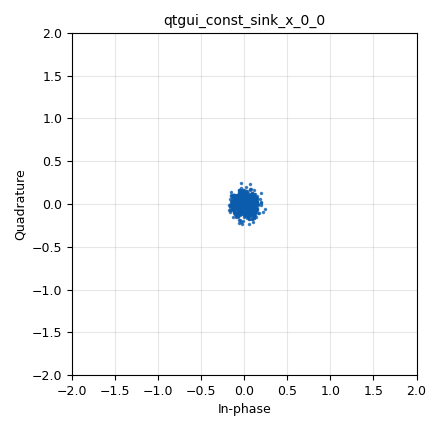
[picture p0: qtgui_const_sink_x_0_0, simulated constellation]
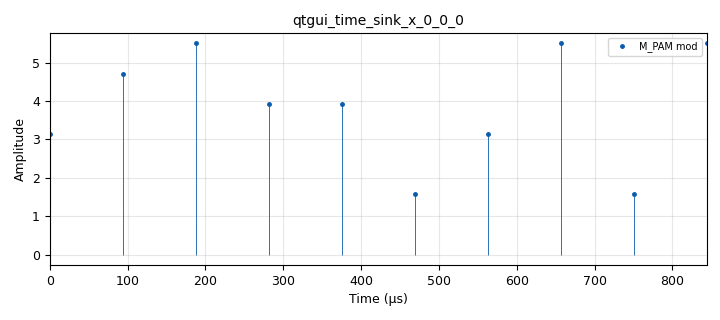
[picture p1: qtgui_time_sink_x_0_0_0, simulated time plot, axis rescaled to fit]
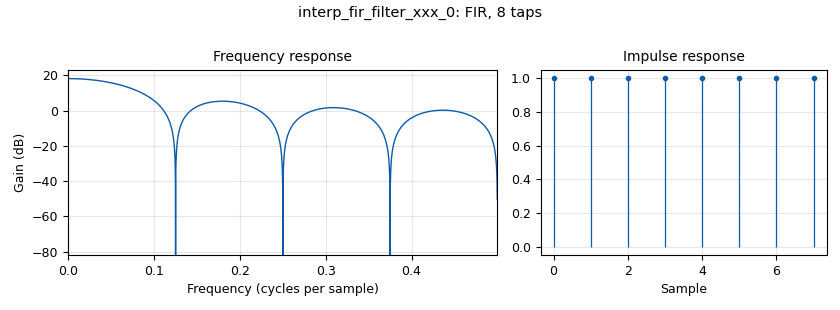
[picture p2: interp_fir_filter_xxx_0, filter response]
options:
  parameters:
    generate_options: qt_gui
    id: M_PSK
    output_language: python
    title: Not titled yet
  states: {}

blocks:
- name: Constelacion
  id: variable
  parameters:
    value: (1+0j, 0+1j, -1+0j, 0-1j)
  states: {}
- name: H
  id: variable
  parameters:
    value: (1,1,1,1,1,1,1,1)
  states: {}
- name: M
  id: variable
  parameters:
    value: '8'
  states: {}
- name: Npbs
  id: variable
  parameters:
    value: int(math.log(M,2))
  states: {}
- name: Rb
  id: variable
  parameters:
    value: '32000'
  states: {}
- name: Rs
  id: variable
  parameters:
    value: Rb/Npbs
  states: {}
- name: Sps
  id: variable
  parameters:
    value: len(H)
  states: {}
- name: samp_rate
  id: variable
  parameters:
    value: Rs*Sps
  states: {}
- name: analog_const_source_x_0
  id: analog_const_source_x
  parameters:
    const: '0'
    type: float
  states: {}
- name: analog_noise_source_x_0
  id: analog_noise_source_x
  parameters:
    amp: '0.1'
    noise_type: analog.GR_GAUSSIAN
    seed: '0'
    type: complex
  states: {}
- name: analog_random_source_x_0
  id: analog_random_source_x
  parameters:
    max: '2'
    min: '0'
    num_samps: '1000'
    repeat: 'True'
    type: byte
  states: {}
- name: blocks_add_xx_0
  id: blocks_add_xx
  parameters:
    type: complex
  states: {}
- name: blocks_char_to_float_0
  id: blocks_char_to_float
  parameters:
    scale: '1'
  states: {state: disabled}
- name: blocks_char_to_float_0_0
  id: blocks_char_to_float
  parameters:
    scale: '1'
  states: {state: disabled}
- name: blocks_char_to_float_1
  id: blocks_char_to_float
  parameters:
    scale: '1'
  states: {}
- name: blocks_multiply_const_vxx_0
  id: blocks_multiply_const_vxx
  parameters:
    const: 2*math.pi/M
    type: float
  states: {}
- name: blocks_repack_bits_bb_0
  id: blocks_repack_bits_bb
  parameters:
    endianness: gr.GR_LSB_FIRST
    k: '1'
    l: Npbs
  states: {}
- name: epy_block_0
  id: epy_block
  parameters:
    _source_code: |
      """
      Embedded Python Blocks:

      Each time this file is saved, GRC will instantiate the first class it finds
      to get ports and parameters of your block. The arguments to __init__  will
      be the parameters. All of them are required to have default values!
      """

      import numpy as np
      from gnuradio import gr


      class blk(gr.sync_block):  # other base classes are basic_block, decim_block, interp_block
          """Embedded Python Block example - a simple multiply const"""

          def __init__(self, example_param=1.0):  # only default arguments here
              """arguments to this function show up as parameters in GRC"""
              gr.sync_block.__init__(
                  self,
                  name='VCO Complex',   # will show up in GRC
                  in_sig=[np.float32,np.float32],
                  out_sig=[np.complex64]
              )
              # if an attribute with the same name as a parameter is found,
              # a callback is registered (properties work, too).
              self.example_param = example_param

          def work(self, input_items, output_items):
              """example: multiply with constant"""
              Q = input_items[0]
              A = input_items[1]
              Sec = output_items[0]
              Sec[:] = A*np.exp(1.j*Q)
              return len(Sec)
    example_param: '1.0'
  states: {}
- name: import_0
  id: import
  parameters:
    imports: import math
  states: {}
- name: interp_fir_filter_xxx_0
  id: interp_fir_filter_xxx
  parameters:
    interp: Sps
    taps: H
    type: ccc
  states: {}
- name: qtgui_const_sink_x_0
  id: qtgui_const_sink_x
  parameters:
    size: '1024'
    type: complex
  states: {state: disabled}
- name: qtgui_const_sink_x_0_0
  id: qtgui_const_sink_x
  parameters:
    size: '1024'
    type: complex
  states: {}
- name: qtgui_freq_sink_x_0
  id: qtgui_freq_sink_x
  parameters:
    average: '0.05'
    bw: samp_rate
    fc: '0'
    fftsize: '1024'
    type: complex
  states: {state: disabled}
- name: qtgui_time_sink_x_0
  id: qtgui_time_sink_x
  parameters:
    marker1: '0'
    size: '32'
    srate: Rb
    stemplot: 'True'
    type: float
    width1: '3'
  states: {state: disabled}
- name: qtgui_time_sink_x_0_0
  id: qtgui_time_sink_x
  parameters:
    marker1: '0'
    size: int(32/Npbs)
    srate: Rs
    stemplot: 'True'
    type: float
    width1: '3'
  states: {state: disabled}
- name: qtgui_time_sink_x_0_0_0
  id: qtgui_time_sink_x
  parameters:
    label1: M_PAM mod
    marker1: '0'
    size: int(32/Npbs)
    srate: Rs
    stemplot: 'True'
    type: float
    width1: '3'
  states: {}
- name: qtgui_time_sink_x_0_0_0_0
  id: qtgui_time_sink_x
  parameters:
    color1: dark blue
    color2: cyan
    label1: EC-Re
    label2: EC-im
    marker1: '0'
    marker2: '0'
    size: int(32/Npbs)
    srate: Rs
    stemplot: 'True'
    type: complex
    width1: '3'
    width2: '3'
  states: {}
- name: qtgui_time_sink_x_0_0_0_0_0
  id: qtgui_time_sink_x
  parameters:
    color1: dark blue
    color2: cyan
    label1: EC-Re
    label2: EC-im
    size: int(32*Sps/Npbs)
    srate: samp_rate
    type: complex
    width1: '3'
    width2: '3'
  states: {state: disabled}

connections:
- [analog_const_source_x_0, '0', epy_block_0, '1']
- [analog_noise_source_x_0, '0', blocks_add_xx_0, '1']
- [analog_random_source_x_0, '0', blocks_char_to_float_0, '0']
- [analog_random_source_x_0, '0', blocks_repack_bits_bb_0, '0']
- [blocks_add_xx_0, '0', qtgui_const_sink_x_0_0, '0']
- [blocks_char_to_float_0, '0', qtgui_time_sink_x_0, '0']
- [blocks_char_to_float_0_0, '0', qtgui_time_sink_x_0_0, '0']
- [blocks_char_to_float_1, '0', blocks_multiply_const_vxx_0, '0']
- [blocks_multiply_const_vxx_0, '0', epy_block_0, '0']
- [blocks_multiply_const_vxx_0, '0', qtgui_time_sink_x_0_0_0, '0']
- [blocks_repack_bits_bb_0, '0', blocks_char_to_float_0_0, '0']
- [blocks_repack_bits_bb_0, '0', blocks_char_to_float_1, '0']
- [epy_block_0, '0', interp_fir_filter_xxx_0, '0']
- [epy_block_0, '0', qtgui_time_sink_x_0_0_0_0, '0']
- [interp_fir_filter_xxx_0, '0', blocks_add_xx_0, '0']
- [interp_fir_filter_xxx_0, '0', qtgui_freq_sink_x_0, '0']
- [interp_fir_filter_xxx_0, '0', qtgui_time_sink_x_0_0_0_0_0, '0']

metadata:
  file_format: 1
  grc_version: 3.9.8.0
